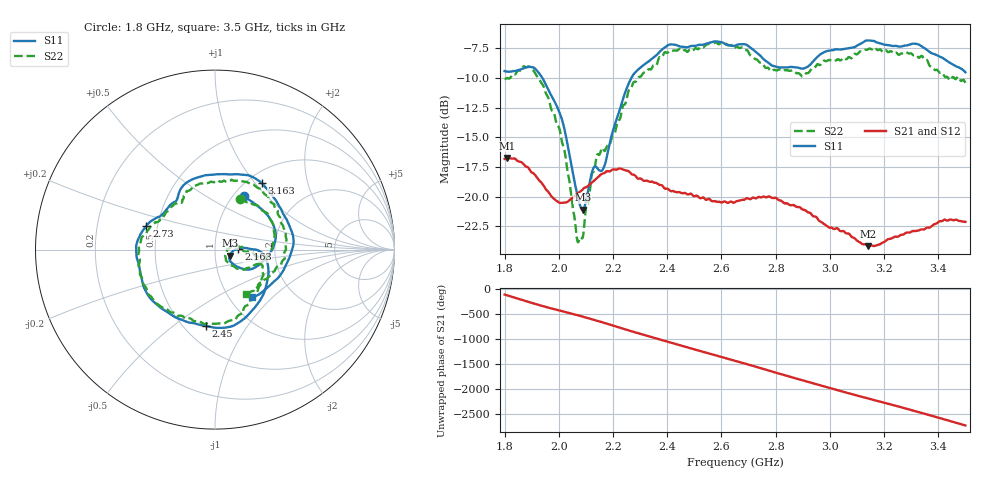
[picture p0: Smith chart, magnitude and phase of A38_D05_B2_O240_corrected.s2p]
! Created with skrf 1.9.0 (http://scikit-rf.org).
# Hz S RI R 50.0
!freq ReS11 ImS11 ReS21 ImS21 ReS12 ImS12 ReS22 ImS22
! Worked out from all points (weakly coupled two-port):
!   1601 points, 1.8 GHz to 3.5 GHz, reference 50 ohm
!   highest |S21| = -16.73 dB at 1.811 GHz (marker M1); lowest = -24.2 dB at 3.142 GHz (marker M2)
!   lowest |S11| = -21.1 dB at 2.088 GHz (marker M3), VSWR 1.19, Z = 58.8 - j3.93 ohm
!   |S11| at or under -10 dB: 1.94 GHz to 2.267 GHz (327.6 MHz wide, 15.6 % of centre)
!   |S22| runs from -23.8 to -7.0 dB; largest |S21 - S12| = 0.0026
!   S11 on the Smith chart (normalised r, x): 1.8 GHz: 1.12, +0.75; 2.163 GHz: 1.30, +0.01; 2.45 GHz: 0.63, -0.66; 2.73 GHz: 0.43, +0.14; 3.163 GHz: 1.17, +1.08; 3.5 GHz: 1.27, -0.75
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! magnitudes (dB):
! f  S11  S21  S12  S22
! 1.8 GHz  -9.4  -16.8  -16.8  -10.1
! 1.811 GHz  -9.5  -16.7  -16.7  -10.0
! 1.886 GHz  -9.1  -17.5  -17.6  -9.0
! 1.941 GHz  -10.1  -19.0  -19.0  -10.6
! 2.011 GHz  -13.5  -20.5  -20.5  -15.4
! 2.066 GHz  -19.6  -19.8  -19.8  -23.3
! 2.084 GHz  -21.0  -19.5  -19.4  -23.5
! 2.088 GHz  -21.1  -19.4  -19.4  -23.5
! 2.127 GHz  -17.6  -18.7  -18.7  -17.9
! 2.163 GHz  -17.7  -18.0  -18.0  -15.9
! 2.262 GHz  -10.2  -17.9  -18.0  -11.0
! 2.367 GHz  -7.9  -18.9  -18.9  -8.4
! 2.45 GHz  -7.4  -19.7  -19.7  -7.7
! 2.65 GHz  -7.3  -20.5  -20.4  -7.5
! 2.73 GHz  -7.9  -20.1  -20.1  -8.4
! 2.809 GHz  -9.1  -20.3  -20.2  -9.3
! 2.934 GHz  -8.7  -21.5  -21.5  -9.2
! 3.142 GHz  -6.8  -24.2  -24.0  -7.6
! 3.163 GHz  -6.9  -24.2  -24.1  -7.4
! 3.217 GHz  -7.2  -23.6  -23.5  -7.8
! 3.326 GHz  -7.2  -22.8  -22.8  -8.3
! 3.5 GHz  -9.5  -22.1  -22.1  -10.4
